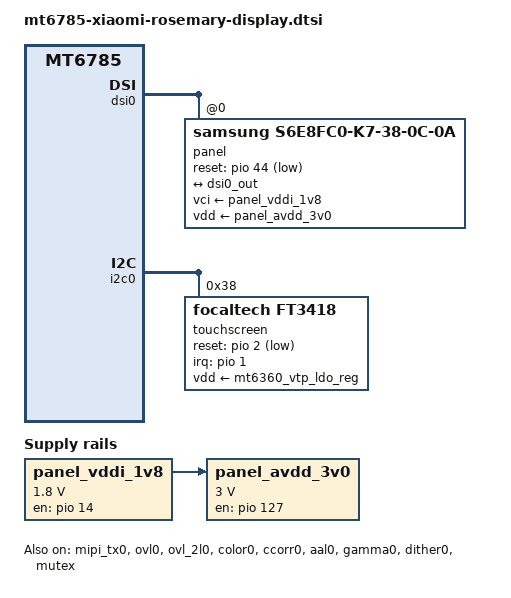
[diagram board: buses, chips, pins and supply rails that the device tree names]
// SPDX-License-Identifier: GPL-2.0-only
/*
 * Poco M5s (rosemary): board nodes of the display area (poco-m5s/plan-full-phone.md).
 * Included at the end of mt6785-xiaomi-rosemary.dts, so everything here wins
 * over the status the board file and mt6785.dtsi set.
 *
 * Sources for every value: the live device tree
 * (poco-m5s/device-dump-2026-11-12/device-tree.dts), the vendor LCM driver
 * drivers/misc/mediatek/lcm/dsi_panel_k7_38_0c_0a_fhdp_video/ in
 * Youffx/kernel_xiaomi_rosemary @ 634d6ac5d96e, and the loader's own display
 * log (poco-m5s/evidence/try-force1/pl_lk.txt lines 1215-1700). Each node says
 * which of them a value comes from.
 */

#include <dt-bindings/gpio/gpio.h>
#include <dt-bindings/interrupt-controller/irq.h>

/*
 * The panel's two rails are enabled by two GPIOs the vendor LCM toggles; there
 * is no regulator behind them.
 *   GPIO 14  - VDDI / 1.8 V,  vendor lcm: #define OLED_1P8_EN  14
 *   GPIO 127 - AVDD + ELVDD 3 V, vendor lcm: #define AVDD_3V_EN 127
 * The voltages are the rail names the pin names and the panel's needs imply;
 * the exact set points live in the panel module, not in a register we drive.
 */
/ {
	panel_vddi_1v8: regulator-panel-vddi {
		compatible = "regulator-fixed";
		regulator-name = "panel_vddi_1v8";
		regulator-min-microvolt = <1800000>;
		regulator-max-microvolt = <1800000>;
		gpio = <&pio 14 GPIO_ACTIVE_HIGH>;
		enable-active-high;
		/* the loader already turned it on: do not power-cycle the panel */
		regulator-boot-on;
	};

	panel_avdd_3v0: regulator-panel-avdd {
		compatible = "regulator-fixed";
		regulator-name = "panel_avdd_3v0";
		regulator-min-microvolt = <3000000>;
		regulator-max-microvolt = <3000000>;
		gpio = <&pio 127 GPIO_ACTIVE_HIGH>;
		enable-active-high;
		regulator-boot-on;
		vin-supply = <&panel_vddi_1v8>;
	};
};

/*
 * AMOLED panel dsi_panel_k7_38_0c_0a_fhdp_video: a Samsung S6E8FC0 module,
 * 1080x2400, video mode with
 * sync pulses, 4 lanes, RGB888, PLL 549 MHz (1098 Mbps per lane), brightness
 * over DCS 0x51. Reset is GPIO 44, active low (vendor lcm_reset() drives it
 * high -> low -> high; the live DT's pinctrl group is lcd_rst_gpio).
 */
&dsi0 {
	status = "okay";

	panel@0 {
		compatible = "samsung,s6e8fc0-k7-38-0c-0a";
		reg = <0>;

		reset-gpios = <&pio 44 GPIO_ACTIVE_LOW>;

		vci-supply = <&panel_vddi_1v8>;
		vdd-supply = <&panel_avdd_3v0>;

		port {
			panel_in: endpoint {
				remote-endpoint = <&dsi0_out>;
			};
		};
	};
};

/* mt6785.dtsi leaves the DSI PHY off; the panel needs it */
&mipi_tx0 {
	status = "okay";
};

/*
 * The data path, in the loader's order:
 *   ovl0 -> ovl_2l0 -> rdma0 -> color0 -> ccorr0 -> aal0 -> gamma0
 *         -> dither0 -> dsi0
 * with every colour block bypassed there. POSTMASK0 is left out because the
 * loader configures it en:0 (pl_lk.txt line 313) and rsz0 because it is a
 * pass-through scaler with no mainline mt6785 driver.
 *
 * The three blocks that read memory name their SMI larb (mediatek,larb): with
 * no IOMMU bound to it a larb is not kept resumed by anyone else, and after a
 * display-domain power cycle its ports come back with translation on
 * (cezanne's 0025, ported in the soc/drm commit of this area).
 *   ovl0    - larb0, M4U ports DISP_OVL0 / DISP_OVL0_HDR
 *   ovl_2l0 - larb1, M4U ports DISP_OVL0_2L / DISP_OVL0_2L_HDR
 *   rdma0   - larb0, M4U port DISP_RDMA0
 */
&ovl0 {
	status = "okay";
	mediatek,larb = <&larb0>;
};

&ovl_2l0 {
	status = "okay";
	mediatek,larb = <&larb1>;
};

&rdma0 {
	status = "okay";
	mediatek,larb = <&larb0>;
	/*
	 * The driver's MT6785 data asks for 1536 bytes, but the property wins over
	 * it (mtk_disp_rdma.c:355-362), and mt6785.dtsi carries 5120 - the value
	 * for another panel. The vendor's golden setting for a video-mode pipe is
	 * 1536 (common/rdma20/ddp_rdma_ex.c: `if (is_wrot_sram == 0)
	 * GS_RDMA_FIFO_SIZE = 1536`), which is what the loader's FIFO_CON
	 * 0x86000000 holds, so the board names it here.
	 */
	mediatek,rdma-fifo-size = <1536>;
};

&color0 { status = "okay"; };
&ccorr0 { status = "okay"; };
&aal0 { status = "okay"; };
&gamma0 { status = "okay"; };

&dither0 {
	status = "okay";
};

/*
 * mt6785.dtsi wires the graph through postmask0 (gamma0_out -> postmask0_in ->
 * postmask0_out -> dither0_in). postmask0 is not in the path, so gamma0 takes
 * dither0 directly instead. postmask0_in keeps pointing at gamma0_out, which is
 * inert: the path walk only follows port 1 forwards.
 */
&gamma0_out {
	remote-endpoint = <&dither0_in>;
};

&dither0_in {
	remote-endpoint = <&gamma0_out>;
};

&dither0_out {
	remote-endpoint = <&dsi0_in>;
};

&dsi0_in {
	remote-endpoint = <&dither0_out>;
};

&dsi0_out {
	remote-endpoint = <&panel_in>;
};

&mutex {
	status = "okay";
};

/*
 * I2C0 carries the LCD bias chip and the touch controller. The live DT has it
 * enabled with both bound (0-003e -> tps65132, 0-0038 -> fts).
 */
&i2c0 {
	status = "okay";

	/*
	 * LCD bias: TI TPS65132 at 0x3E, the VPOS/VNEG source of the AMOLED's
	 * ELVDD/ELVSS rails (it is not a backlight driver: an AMOLED has no LED
	 * string). Address from the live DT ("0-003e tps65132") and the vendor
	 * LCM code (lcm_i2c.c, LCM_I2C_ADDR 0x3E).
	 *
	 * Enable pins are the live DT's pinctrl groups:
	 *   lcd_bias_enp1_gpio - pinmux 0x1700 - GPIO 23,  VPOS
	 *   lcd_bias_enn1_gpio - pinmux 0xca00 - GPIO 202, VNEG
	 *
	 * vin-supply is deliberately absent: the TPS65132's input rail is not
	 * recorded in any artifact we have. The binding makes it optional and a
	 * wrong guess would give no bias and a black screen.
	 */
	/*
	 * Disabled (lead, 15.11 kexec trial): nothing answers at 0x3e on this bus
	 * (i2cdetect -r on i2c@11007000 finds no device) while the loader's panel
	 * is lit with both enable pins low (GPIO 23 and 202 read output 0), and the
	 * live DT has no tps65132 node. This AMOLED does not use the bias chip;
	 * the node stays for the LCD panel variants the vendor code also serves.
	 */
	regulator@3e {
		compatible = "ti,tps65132";
		reg = <0x3e>;
		status = "disabled";

		outp {
			regulator-name = "lcd_bias_vpos";
			regulator-min-microvolt = <4000000>;
			regulator-max-microvolt = <6000000>;
			enable-gpios = <&pio 23 GPIO_ACTIVE_HIGH>;
		};

		outn {
			regulator-name = "lcd_bias_vneg";
			regulator-min-microvolt = <4000000>;
			regulator-max-microvolt = <6000000>;
			enable-gpios = <&pio 202 GPIO_ACTIVE_HIGH>;
		};
	};

	/*
	 * FocalTech FT3418 touch controller at 0x38, chip id 0x54/0x52 (live
	 * DT node "touch@0", compatible "focaltech,fts"; dmesg
	 * "fts_wait_tp_to_valid:TP Ready,Device ID:0x5452").
	 *   IRQ    - GPIO 1, falling edge (live DT "focaltech,eint-gpio" and
	 *            the touch node's interrupt type 2 = IRQ_TYPE_EDGE_FALLING)
	 *   reset  - GPIO 2, active low (live DT "focaltech,reset-gpio"; the
	 *            vendor's fts_reset_proc() drives it low then high)
	 *   supply - the live DT's "vtouch-supply" is the PMIC's LDO2 (vtp,
	 *            3.0 V). That regulator has no label in mt6359.dtsi, so it
	 *            cannot be named here; the driver takes the rail
	 *            optionally and it stays as the loader set it up. Written
	 *            up in the area report.
	 *
	 * No pinctrl: the live DT's int_active / reset_active groups set pinmux
	 * 0x100 and 0x200, which is mode 0 on GPIO 1 and GPIO 2, the state those
	 * pads reset to.
	 */
	touchscreen@38 {
		compatible = "focaltech,ft3418";
		reg = <0x38>;

		interrupt-parent = <&pio>;
		interrupts = <1 IRQ_TYPE_EDGE_FALLING>;

		reset-gpios = <&pio 2 GPIO_ACTIVE_LOW>;
		vdd-supply = <&mt6360_vtp_ldo_reg>;

		touchscreen-size-x = <1080>;
		touchscreen-size-y = <2400>;
	};
};

/*
 * Touch supply: MT6360 LDO2, "vtp" in the live DT (mt_pmic_vtp_ldo_reg: ldo2,
 * phandle 0xe9 = the focaltech node's vtouch-supply). The loader leaves it off
 * (regulator state "disabled" under Linux, 15.11), so the controller does not
 * answer until Linux turns it on. Voltage: the vendor FT3518 driver asks
 * 2.6..3.3 V (FTS_VTG_MIN_UV/MAX_UV, focaltech_core.c); 3.0 V is inside it.
 */
&{/soc/i2c@11016000/pmic@34/regulator} {
	mt6360_vtp_ldo_reg: ldo2 {
		regulator-name = "vtp";
		regulator-min-microvolt = <3000000>;
		regulator-max-microvolt = <3000000>;
	};
};
